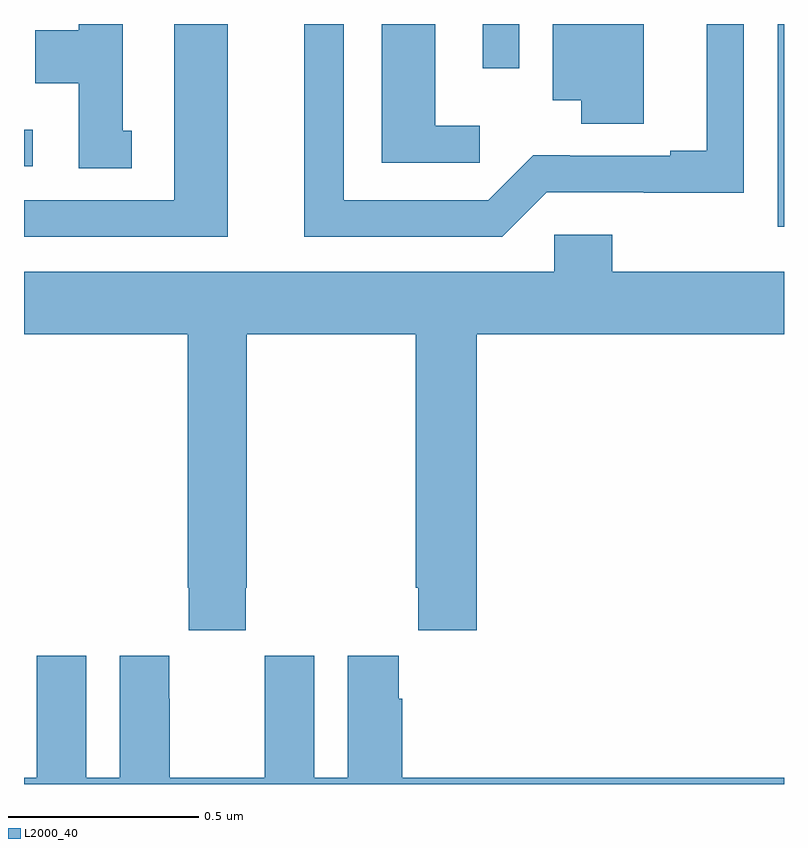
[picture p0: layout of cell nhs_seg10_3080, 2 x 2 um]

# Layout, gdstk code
import gdstk
lib = gdstk.Library(unit=1e-6, precision=1e-09)
def R(c, l, rs):  # rectangles x0, y0, x1, y1
    for r in rs: c.add(gdstk.rectangle(r[:2], r[2:], *l))
def P(c, l, *ps):  # polygons
    for p in ps: c.add(gdstk.Polygon(p, *l))
L2000_40 = (2000, 40)

nhs_seg10_3080 = lib.new_cell('nhs_seg10_3080')
R(nhs_seg10_3080, L2000_40, [(150.984,1265.967,151,1266.5), (149,1266.126,149.023,1266.222), (150.207,1266.384,150.303,1266.5)])
P(nhs_seg10_3080, L2000_40, [(150.199,1266.232),(150.082,1266.232),(150.082,1266.5),(149.942,1266.5),(149.942,1266.135),(150.199,1266.135)],
  [(150.375,1266.057),(150.631,1266.057),(150.631,1266.056),(150.894,1266.056),(150.894,1266.5),(150.797,1266.5),(150.797,1266.166),(150.701,1266.166),(150.701,1266.153),(150.436,1266.153),(150.436,1266.154),(150.34,1266.154),(150.222,1266.036),(149.842,1266.036),(149.842,1266.5),(149.738,1266.5),(149.738,1265.94),(150.258,1265.94)],
  [(149.284,1266.219),(149.26,1266.219),(149.26,1266.5),(149.144,1266.5),(149.144,1266.484),(149.03,1266.484),(149.03,1266.344),(149.144,1266.344),(149.144,1266.121),(149.284,1266.121)],
  [(150.631,1266.5),(150.392,1266.5),(150.392,1266.299),(150.467,1266.299),(150.467,1266.238),(150.631,1266.238)],
  [(149.536,1266.5),(149.396,1266.5),(149.396,1266.036),(149,1266.036),(149,1265.94),(149.536,1265.94)],
  [(149.583,1265.017),(149.586,1265.017),(149.586,1265.684),(150.031,1265.684),(150.031,1265.017),(150.037,1265.017),(150.037,1264.905),(150.191,1264.905),(150.191,1265.684),(151,1265.684),(151,1265.848),(150.548,1265.848),(150.548,1265.946),(150.396,1265.946),(150.396,1265.848),(149,1265.848),(149,1265.684),(149.431,1265.684),(149.431,1265.017),(149.433,1265.017),(149.433,1264.905),(149.583,1264.905)],
  [(151,1264.516),(149.996,1264.516),(149.996,1264.724),(149.986,1264.724),(149.986,1264.837),(149.852,1264.837),(149.852,1264.516),(149.764,1264.516),(149.764,1264.837),(149.634,1264.837),(149.634,1264.724),(149.633,1264.724),(149.633,1264.516),(149.383,1264.516),(149.383,1264.724),(149.382,1264.724),(149.382,1264.837),(149.252,1264.837),(149.252,1264.516),(149.164,1264.516),(149.164,1264.837),(149.034,1264.837),(149.034,1264.724),(149.033,1264.724),(149.033,1264.516),(149,1264.516),(149,1264.5),(151,1264.5)])

lib.write_gds('nhs_seg10_3080.gds')
